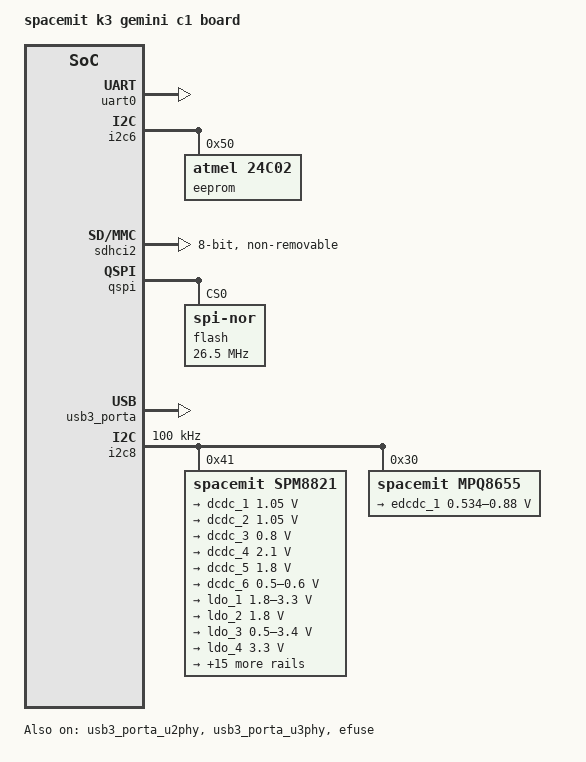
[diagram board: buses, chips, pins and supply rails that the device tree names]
// SPDX-License-Identifier: GPL-2.0
/*
 * finch board's base device tree configure.
 *
 * Copyright (C) 2025 SPACEMIT Micro Limited
 */

#include "k3.dtsi"
#include "k3-pinctrl.dtsi"

/ {
	model = "spacemit k3 gemini c1 board";
};

&cpus {
	timebase-frequency = <24000000>;
};

&pinctrl {
	qspi_grp {
		power-source = <1800>;
	};

	qspi_cs0_grp {
		power-source = <1800>;
	};
};

&uart0 {
	status = "okay";
};

&i2c6 {
	#address-cells = <1>;
	#size-cells = <0>;
	pinctrl-names = "default";
	pinctrl-0 = <&pinctrl_i2c6_4>;
	status = "okay";

	eeprom@50{
		compatible = "atmel,24c02";
		reg = <0x50>;
		status = "okay";
	};
};

&sdhci0 {
	pinctrl-names = "default","uhs";
	pinctrl-0 = <&pinctrl_mmc1>;
	pinctrl-1 = <&pinctrl_mmc1_uhs>;
	bus-width = <4>;
	cd-gpios = <&gpio 86 0>;
	cd-inverted;
	vqmmc-supply = <&ldo_1>;
	clock-frequency = <204800000>;
	spacemit,tx_delaycode = <0x1f>;
	sdh-phy-module = <0>;
	status = "disabled";
};

/* eMMC */
&sdhci2 {
	bus-width = <8>;
	non-removable;
	mmc-hs400-1_8v;
	mmc-hs400-enhanced-strobe;
	clock-frequency = <375000000>;
	sdh-phy-module = <1>;
	status = "okay";
};

&qspi {
	status = "okay";
	pinctrl-names = "default";
	pinctrl-0 = <&pinctrl_qspi &pinctrl_qspi_cs0>;

	flash@0 {
		compatible = "jedec,spi-nor";
		reg = <0>;
		spi-max-frequency = <26500000>;
		m25p,fast-read;
		broken-flash-reset;
		status = "okay";
	};
};

&usb3_porta_u2phy {
	status = "okay";
};

&usb3_porta_u3phy {
	status = "okay";
};

&usb3_porta {
	status = "okay";
	u-boot,dm-spl;
	dwc3@cad00000 {
		dr_mode = "peripheral";
	};
};

&ufs {
	status = "disabled";
};

&pinctrl {
	pinctrl-single,gpio-range = <
		&range GPIO_86  1 (MUX_MODE0 | EDGE_NONE | PULL_UP   | PAD_DS4)
	>;
};

&gpio{
	gpio-ranges = <
		&pinctrl 86 GPIO_86 1
	>;
};

&i2c8 {
	clock-frequency = <100000>;
	u-boot,dm-spl;
	pinctrl-names = "default";
	pinctrl-0 = <&pinctrl_i2c8>;
	status = "okay";

	spm8821: pmic@41 {
		compatible = "spacemit,spm8821";
		reg = <0x41>;
		bus = <8>;
		u-boot,dm-spl;

		regulators {
			/* buck */
			dcdc_1: DCDC_REG1 {
				regulator-name = "dcdc1";
				regulator-min-microvolt = <1050000>;
				regulator-max-microvolt = <1050000>;
				regulator-always-on;
				regulator-boot-on;
				u-boot,dm-spl;
				regulator-state-mem {
					regulator-suspend-microvolt = <1050000>;
				};
			};

			dcdc_2: DCDC_REG2 {
				regulator-name = "dcdc2";
				regulator-min-microvolt = <1050000>;
				regulator-max-microvolt = <1050000>;
				regulator-always-on;
				regulator-boot-on;
				regulator-state-mem {
					regulator-suspend-microvolt = <1050000>;
				};
			};

			dcdc_3: DCDC_REG3 {
				regulator-name = "dcdc3";
				regulator-min-microvolt = <800000>;
				regulator-max-microvolt = <800000>;
				regulator-always-on;
				regulator-boot-on;
				u-boot,dm-spl;
				regulator-state-mem {
					regulator-suspend-microvolt = <800000>;
				};
			};

			dcdc_4: DCDC_REG4 {
				regulator-name = "dcdc4";
				regulator-min-microvolt = <2100000>;
				regulator-max-microvolt = <2100000>;
				regulator-always-on;
				regulator-boot-on;
				regulator-state-mem {
					regulator-suspend-microvolt = <2100000>;
				};
			};

			dcdc_5: DCDC_REG5 {
				regulator-name = "dcdc5";
				regulator-min-microvolt = <1800000>;
				regulator-max-microvolt = <1800000>;
				regulator-always-on;
				regulator-boot-on;
				regulator-state-mem {
					regulator-suspend-microvolt = <1800000>;
				};
			};

			dcdc_6: DCDC_REG6 {
				regulator-name = "dcdc6";
				regulator-min-microvolt = <500000>;
				regulator-max-microvolt = <600000>;
				regulator-always-on;
				regulator-boot-on;
				regulator-state-mem {
					regulator-suspend-microvolt = <500000>;
				};
			};

			/* aldo */
			ldo_1: LDO_REG1 {
				regulator-name = "ldo1";
				regulator-min-microvolt = <1800000>;
				regulator-max-microvolt = <3300000>;
				regulator-always-on;
				regulator-boot-on;
				u-boot,dm-spl;
				regulator-state-mem {
					regulator-suspend-microvolt = <1800000>;
				};
			};

			ldo_2: LDO_REG2 {
				regulator-name = "ldo2";
				regulator-min-microvolt = <1800000>;
				regulator-max-microvolt = <1800000>;
				regulator-always-on;
				regulator-boot-on;
				regulator-state-mem {
					regulator-suspend-microvolt = <1800000>;
				};
			};

			ldo_3: LDO_REG3 {
				regulator-name = "ldo3";
				regulator-min-microvolt = <500000>;
				regulator-max-microvolt = <3400000>;
				regulator-state-mem {
					regulator-suspend-microvolt = <3300000>;
				};
			};

			ldo_4: LDO_REG4 {
				regulator-name = "ldo4";
				regulator-min-microvolt = <3300000>;
				regulator-max-microvolt = <3300000>;
				regulator-always-on;
				regulator-boot-on;
				regulator-state-mem {
					regulator-suspend-microvolt = <3300000>;
				};
			};

			/* dldo */
			ldo_5: LDO_REG5 {
				regulator-name = "ldo5";
				regulator-min-microvolt = <1200000>;
				regulator-max-microvolt = <1200000>;
				regulator-always-on;
				regulator-boot-on;
				regulator-state-mem {
					regulator-suspend-microvolt = <1200000>;
				};
			};

			ldo_6: LDO_REG6 {
				regulator-name = "ldo6";
				regulator-min-microvolt = <900000>;
				regulator-max-microvolt = <900000>;
				regulator-always-on;
				regulator-boot-on;
				regulator-state-mem {
					regulator-suspend-microvolt = <900000>;
				};
			};

			ldo_7: LDO_REG7 {
				regulator-name = "ldo7";
				regulator-min-microvolt = <800000>;
				regulator-max-microvolt = <800000>;
				regulator-always-on;
				regulator-boot-on;
				regulator-state-mem {
					regulator-suspend-microvolt = <800000>;
				};
			};

			ldo_8: LDO_REG8 {
				regulator-name = "ldo8";
				regulator-min-microvolt = <1800000>;
				regulator-max-microvolt = <1800000>;
				regulator-boot-on;
				regulator-state-mem {
					regulator-suspend-microvolt = <1800000>;
				};
			};

			ldo_9: LDO_REG9 {
				regulator-name = "ldo9";
				regulator-min-microvolt = <1800000>;
				regulator-max-microvolt = <1800000>;
				regulator-always-on;
				regulator-boot-on;
				regulator-state-mem {
					regulator-suspend-microvolt = <1800000>;
				};
			};

			ldo_10: LDO_REG10 {
				regulator-name = "ldo10";
				regulator-min-microvolt = <1800000>;
				regulator-max-microvolt = <1800000>;
				regulator-always-on;
				regulator-boot-on;
				regulator-state-mem {
					regulator-suspend-microvolt = <1800000>;
				};
			};

			ldo_11: LDO_REG11 {
				regulator-name = "ldo11";
				regulator-min-microvolt = <1800000>;
				regulator-max-microvolt = <1800000>;
				regulator-always-on;
				regulator-boot-on;
				regulator-state-mem {
					regulator-suspend-microvolt = <1800000>;
				};
			};

			sw_2: SWITCH_REG1 {
				regulator-name = "switch1";
			};

			power_event: SWITCH_REG2 {
				regulator-name = "pwr-event";
			};

			power_int: SWITCH_REG3 {
				regulator-name = "pwr-int";
			};

			rtc_ctrl: SWITCH_REG4 {
				regulator-name = "rtc-ctrl";
			};

			rtc_event: SWITCH_REG5 {
				regulator-name = "rtc-event";
			};

			rtc_irq: SWITCH_REG6 {
				regulator-name = "rtc-irq";
			};

			power_down: SWITCH_REG7 {
				regulator-name = "power-down";
			};

			reboot_flag: SWITCH_REG8 {
				regulator-name = "reboot-flag";
			};

			wdt_pm8821: PMIC_WDT {
				wdt-name = "wdt_pm8821";
			};
		};
	};

	mpq8655: mpq8655@30 {
		compatible = "spacemit,mpq8655";
		reg = <0x30>;
		bus = <8>;
		u-boot,dm-spl;

		regulators {
			u-boot,dm-spl;

			edcdc_1: EDCDC_REG1 {
				regulator-name = "edcdc1";
				regulator-min-microvolt = <534000>;
				regulator-max-microvolt = <880000>;
				regulator-init-microvolt = <880000>;
				regulator-always-on;
				regulator-boot-on;
				u-boot,dm-spl;
			};
		};
	};
};

&efuse {
	status = "okay";
};
